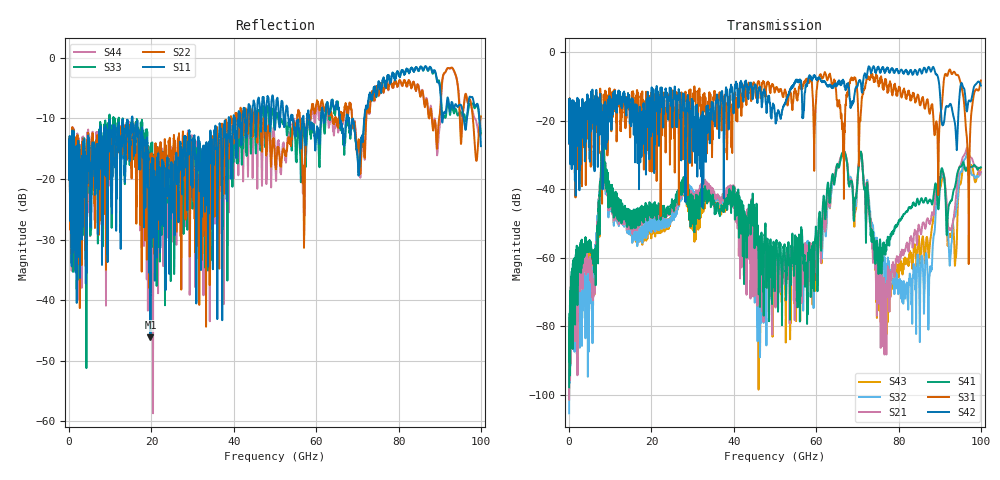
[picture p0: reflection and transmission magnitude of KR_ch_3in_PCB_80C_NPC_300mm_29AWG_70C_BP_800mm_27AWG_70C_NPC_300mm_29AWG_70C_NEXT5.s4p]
# GHz S RI R 45
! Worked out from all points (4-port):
!   4000 points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, 25 MHz to 100 GHz, reference 45 ohm
!   strongest paths, dB at 25 MHz, 25.02 GHz, 50.02 GHz, 75.03 GHz, 100 GHz:
!     S42: -20.0, -17.9, -18.0, -4.4, -9.7
!     S31: -20.0, -12.2, -11.3, -8.6, -8.3
!     S41: -97.7, -43.5, -66.2, -58.2, -33.6
!     S21: -101.4, -45.0, -62.8, -64.7, -35.0
!     S32: -105.3, -47.1, -74.1, -57.2, -35.3
!     S43: -100.1, -46.7, -69.8, -64.7, -34.1
!   lowest |S11| = -46.1 dB at 19.77 GHz (marker M1), VSWR 1.01, Z = 45.4 + j0.0365 ohm
!   |S11| at or under -10 dB: start of sweep to 15.33 GHz; 15.36 GHz to 38.77 GHz (23.42 GHz wide, 86.5 % of centre); 67.96 GHz to 71.67 GHz (3.712 GHz wide, 5.32 % of centre) (the widest 3 of 29)
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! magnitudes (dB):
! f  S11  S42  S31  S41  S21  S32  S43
! 25 MHz  -16.0  -20.0  -20.0  -97.7  -101.4  -105.3  -100.1
! 8.275 GHz  -15.0  -18.2  -16.8  -30.5  -31.0  -31.3  -30.9
! 19.77 GHz  -46.1  -15.3  -15.0  -46.6  -48.0  -50.8  -50.5
! 55.08 GHz  -13.0  -8.0  -11.3  -58.1  -61.9  -60.0  -69.6
! 70.8 GHz  -15.4  -8.8  -18.6  -29.0  -29.9  -29.6  -29.1
! 76.75 GHz  -4.8  -5.6  -7.8  -57.6  -67.9  -60.4  -65.1
! 100 GHz  -14.6  -9.7  -8.3  -33.6  -35.0  -35.3  -34.1
